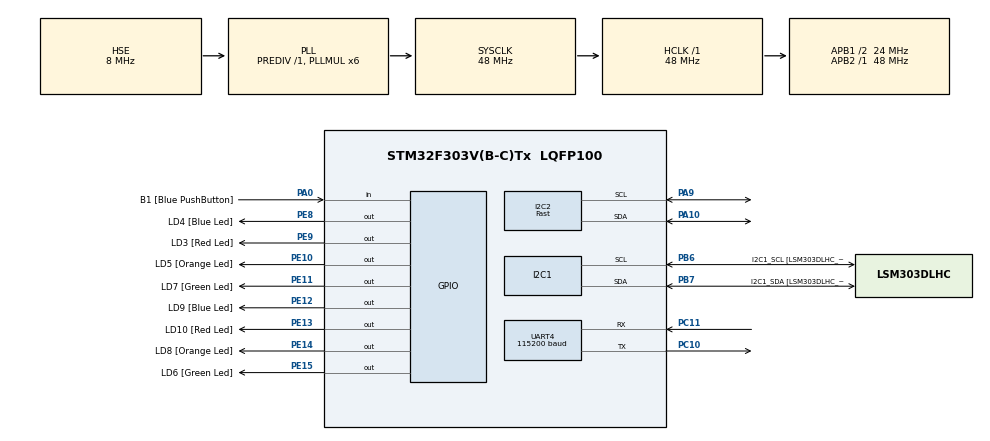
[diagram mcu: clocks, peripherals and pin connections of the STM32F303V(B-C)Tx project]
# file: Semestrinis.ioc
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I2C1.Timing-I2C=0x2000090E
I2C2.I2C_Speed_Mode=I2C_Fast
I2C2.Timing=0x0000020B
Mcu.Family=STM32F3
Mcu.Name=STM32F303V(B-C)Tx
Mcu.Package=LQFP100
NVIC.I2C1_EV_IRQn=true\:0\:0\:false\:false\:true\:true\:true\:true
NVIC.I2C2_EV_IRQn=true\:0\:0\:false\:false\:true\:true\:true\:true
NVIC.PriorityGroup=NVIC_PRIORITYGROUP_0
NVIC.TIM3_IRQn=true\:0\:0\:false\:false\:true\:true\:true\:true
NVIC.UART4_IRQn=true\:0\:0\:false\:false\:true\:true\:true\:true
PA0.GPIO_Label=B1 [Blue PushButton]
PA0.Signal=GPIO_Input
PA10.GPIO_Pu=GPIO_NOPULL
PA10.Mode=I2C
PA10.Signal=I2C2_SDA
PA11.GPIO_Label=DM
PA11.Signal=USB_DM
PA12.GPIO_Label=DP
PA12.Signal=USB_DP
PA13.GPIO_Label=SWDIO
PA13.Mode=Serial_Wire
PA13.Signal=SYS_JTMS-SWDIO
PA14.GPIO_Label=SWCLK
PA14.Mode=Serial_Wire
PA14.Signal=SYS_JTCK-SWCLK
PA9.Mode=I2C
PA9.Signal=I2C2_SCL
PB3.GPIO_Label=SWO
PB3.Signal=SYS_JTDO-TRACESWO
PB6.GPIO_Label=I2C1_SCL [LSM303DLHC_SCL]
PB6.GPIO_Pu=GPIO_PULLUP
PB6.Mode=I2C
PB6.Signal=I2C1_SCL
PB7.GPIO_Label=I2C1_SDA [LSM303DLHC_SDA]
PB7.GPIO_Pu=GPIO_PULLUP
PB7.Mode=I2C
PB7.Signal=I2C1_SDA
PC10.Mode=Asynchronous
PC10.Signal=UART4_TX
PC11.Mode=Asynchronous
PC11.Signal=UART4_RX
PC14-OSC32_IN.GPIO_Label=OSC32_IN
PC14-OSC32_IN.Signal=RCC_OSC32_IN
PC15-OSC32_OUT.GPIO_Label=OSC32_OUT
PC15-OSC32_OUT.Signal=RCC_OSC32_OUT
PE10.GPIO_Label=LD5 [Orange Led]
PE10.Signal=GPIO_Output
PE11.GPIO_Label=LD7 [Green Led]
PE11.Signal=GPIO_Output
PE12.GPIO_Label=LD9 [Blue Led]
PE12.Signal=GPIO_Output
PE13.GPIO_Label=LD10 [Red Led]
PE13.Signal=GPIO_Output
PE14.GPIO_Label=LD8 [Orange Led]
PE14.Signal=GPIO_Output
PE15.GPIO_Label=LD6 [Green Led]
PE15.Signal=GPIO_Output
PE8.GPIO_Label=LD4 [Blue Led]
PE8.Signal=GPIO_Output
PE9.GPIO_Label=LD3 [Red Led]
PE9.Signal=GPIO_Output
PF0-OSC_IN.GPIO_Label=OSC_IN
PF0-OSC_IN.Mode=HSE-External-Clock-Source
PF0-OSC_IN.Signal=RCC_OSC_IN
PF1-OSC_OUT.GPIO_Label=OSC_OUT
PF1-OSC_OUT.Signal=RCC_OSC_OUT
ProjectManager.HeapSize=0x200
ProjectManager.StackSize=0x400
ProjectManager.TargetToolchain=MDK-ARM V5.32
RCC.AHBFreq_Value=48000000
RCC.APB1CLKDivider=RCC_HCLK_DIV2
RCC.APB1Freq_Value=24000000
RCC.APB1TimFreq_Value=48000000
RCC.APB2Freq_Value=48000000
RCC.APB2TimFreq_Value=48000000
RCC.CortexFreq_Value=48000000
RCC.HCLKFreq_Value=48000000
RCC.HSE_Timout=100
RCC.HSE_VALUE=8000000
RCC.HSI_VALUE=8000000
RCC.LSE_VALUE=32768
RCC.PLLMUL=RCC_PLL_MUL6
RCC.PLLSourceVirtual=RCC_PLLSOURCE_HSE
RCC.SYSCLKFreq_VALUE=48000000
RCC.SYSCLKSourceVirtual=RCC_SYSCLKSOURCE_PLLCLK
RCC.USBFreq_Value=48000000
TIM3.Period=100
TIM3.Prescaler=48000
UART4.BaudRate=115200
UART4.Mode=MODE_TX_RX
UART4.WordLength=WORDLENGTH_8B
VP_TIM3_VS_ClockSourceINT.Mode=Internal
board=STM32F3DISCOVERY

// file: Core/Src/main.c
/* USER CODE BEGIN Header */
/**
  ******************************************************************************
  * @file           : main.c
  * @brief          : Main program body
  ******************************************************************************
  * @attention
  *
  * Copyright (c) 2023 STMicroelectronics.
  * All rights reserved.
  *
  * This software is licensed under terms that can be found in the LICENSE file
  * in the root directory of this software component.
  * If no LICENSE file comes with this software, it is provided AS-IS.
  *
  ******************************************************************************
  */
/* USER CODE END Header */
#include "main.h"

/* USER CODE BEGIN Includes */
#include "mano.h"
#include "ssd1306.h"
#include "fonts.h"

/* USER CODE END Includes */

I2C_HandleTypeDef hi2c1;
I2C_HandleTypeDef hi2c2;

TIM_HandleTypeDef htim3;

UART_HandleTypeDef huart4;

void SystemClock_Config(void);
static void MX_GPIO_Init(void);
static void MX_I2C1_Init(void);
static void MX_UART4_Init(void);
static void MX_I2C2_Init(void);
static void MX_TIM3_Init(void);

/* USER CODE BEGIN 0 */

int compassRotation = 0;
int nuskaitymuSkaicius = 0;
//Gauta nuskaitymo taimerio pertrauktis
void HAL_TIM_PeriodElapsedCallback(TIM_HandleTypeDef* htim)
{
	HAL_ResumeTick();
	if(htim == &htim3){
		Get_Compass_Data();
		nuskaitymuSkaicius++;
		if(nuskaitymuSkaicius == 5){ //patikriname ar atnaujinti informacija
			#if Enable_sensor
			compassRotation = Calculate_compass_data();
			#endif
			#if Enable_screen
			Update_Screen();
			#endif
			#if Enable_pc
			Update_PC_Heading();
			#endif
			nuskaitymuSkaicius = 0;
		}

	}
}

//Gauta UART RX pertrauktis
//https://controllerstech.com/flash-programming-in-stm32/
uint8_t receiveUARTData[6];
uint16_t received_calibration = 0x0000;
void HAL_UART_RxCpltCallback(UART_HandleTypeDef *huart)
{
	HAL_ResumeTick();
	switch(receiveUARTData[0])
	{
		case 0x01: //GAvome nauja kalibracijos verte
			received_calibration = receiveUARTData[1] | (receiveUARTData[2] << 8);
			Update_Calibration(received_calibration);
			Read_Calibration();
			break;
	}
}

void HAL_UART_TxCpltCallback(UART_HandleTypeDef *huart)
{
   Update_PC_Calibration();
}
/* USER CODE END 0 */

int main(void)
{

  /* MCU Configuration--------------------------------------------------------*/

  /* Reset of all peripherals, Initializes the Flash interface and the Systick. */
  HAL_Init();

  /* Configure the system clock */
  SystemClock_Config();

  /* Initialize all configured peripherals */
  MX_GPIO_Init();
  MX_I2C1_Init();
  MX_UART4_Init();
  MX_I2C2_Init();
  MX_TIM3_Init();
  /* USER CODE BEGIN 2 */
	I2C_Init(); //Sukonfiguruojame sensoriu

	#if Enable_calibration
		Read_Calibration(); //perskaitome kalibracija irasyta FLASH atmintyje
	#endif

	#if Enable_screen //Ijungiame ekrana
		SSD1306_Init ();
		SSD1306_UpdateScreen();
	#endif
	HAL_TIM_Base_Start_IT(&htim3); //Pradedame nuskaitymo laikmati
  /* USER CODE END 2 */

  /* Infinite loop */
  /* USER CODE BEGIN WHILE */
  while (1)
  {
		HAL_UART_Receive_IT(&huart4, receiveUARTData, 3);
		HAL_SuspendTick();
    HAL_PWR_EnterSLEEPMode(PWR_MAINREGULATOR_ON,PWR_SLEEPENTRY_WFI);
		HAL_ResumeTick();
    /* USER CODE END WHILE */

  }
}

void SystemClock_Config(void)
{
  RCC_OscInitTypeDef RCC_OscInitStruct = {0};
  RCC_ClkInitTypeDef RCC_ClkInitStruct = {0};
  RCC_PeriphCLKInitTypeDef PeriphClkInit = {0};

  /** Initializes the RCC Oscillators according to the specified parameters
  * in the RCC_OscInitTypeDef structure.
  */
  RCC_OscInitStruct.OscillatorType = RCC_OSCILLATORTYPE_HSI|RCC_OSCILLATORTYPE_HSE;
  RCC_OscInitStruct.HSEState = RCC_HSE_BYPASS;
  RCC_OscInitStruct.HSEPredivValue = RCC_HSE_PREDIV_DIV1;
  RCC_OscInitStruct.HSIState = RCC_HSI_ON;
  RCC_OscInitStruct.HSICalibrationValue = RCC_HSICALIBRATION_DEFAULT;
  RCC_OscInitStruct.PLL.PLLState = RCC_PLL_ON;
  RCC_OscInitStruct.PLL.PLLSource = RCC_PLLSOURCE_HSE;
  RCC_OscInitStruct.PLL.PLLMUL = RCC_PLL_MUL6;
  if (HAL_RCC_OscConfig(&RCC_OscInitStruct) != HAL_OK)
  {
    Error_Handler();
  }

  /** Initializes the CPU, AHB and APB buses clocks
  */
  RCC_ClkInitStruct.ClockType = RCC_CLOCKTYPE_HCLK|RCC_CLOCKTYPE_SYSCLK
                              |RCC_CLOCKTYPE_PCLK1|RCC_CLOCKTYPE_PCLK2;
  RCC_ClkInitStruct.SYSCLKSource = RCC_SYSCLKSOURCE_PLLCLK;
  RCC_ClkInitStruct.AHBCLKDivider = RCC_SYSCLK_DIV1;
  RCC_ClkInitStruct.APB1CLKDivider = RCC_HCLK_DIV2;
  RCC_ClkInitStruct.APB2CLKDivider = RCC_HCLK_DIV1;

  if (HAL_RCC_ClockConfig(&RCC_ClkInitStruct, FLASH_LATENCY_1) != HAL_OK)
  {
    Error_Handler();
  }
  PeriphClkInit.PeriphClockSelection = RCC_PERIPHCLK_UART4|RCC_PERIPHCLK_I2C1
                              |RCC_PERIPHCLK_I2C2;
  PeriphClkInit.Uart4ClockSelection = RCC_UART4CLKSOURCE_PCLK1;
  PeriphClkInit.I2c1ClockSelection = RCC_I2C1CLKSOURCE_HSI;
  PeriphClkInit.I2c2ClockSelection = RCC_I2C2CLKSOURCE_HSI;
  if (HAL_RCCEx_PeriphCLKConfig(&PeriphClkInit) != HAL_OK)
  {
    Error_Handler();
  }
}

static void MX_I2C1_Init(void)
{

  hi2c1.Instance = I2C1;
  hi2c1.Init.Timing = 0x2000090E;
  hi2c1.Init.OwnAddress1 = 0;
  hi2c1.Init.AddressingMode = I2C_ADDRESSINGMODE_7BIT;
  hi2c1.Init.DualAddressMode = I2C_DUALADDRESS_DISABLE;
  hi2c1.Init.OwnAddress2 = 0;
  hi2c1.Init.OwnAddress2Masks = I2C_OA2_NOMASK;
  hi2c1.Init.GeneralCallMode = I2C_GENERALCALL_DISABLE;
  hi2c1.Init.NoStretchMode = I2C_NOSTRETCH_DISABLE;
  if (HAL_I2C_Init(&hi2c1) != HAL_OK)
  {
    Error_Handler();
  }

  /** Configure Analogue filter
  */
  if (HAL_I2CEx_ConfigAnalogFilter(&hi2c1, I2C_ANALOGFILTER_ENABLE) != HAL_OK)
  {
    Error_Handler();
  }

  /** Configure Digital filter
  */
  if (HAL_I2CEx_ConfigDigitalFilter(&hi2c1, 0) != HAL_OK)
  {
    Error_Handler();
  }

}

static void MX_I2C2_Init(void)
{

  hi2c2.Instance = I2C2;
  hi2c2.Init.Timing = 0x0000020B;
  hi2c2.Init.OwnAddress1 = 0;
  hi2c2.Init.AddressingMode = I2C_ADDRESSINGMODE_7BIT;
  hi2c2.Init.DualAddressMode = I2C_DUALADDRESS_DISABLE;
  hi2c2.Init.OwnAddress2 = 0;
  hi2c2.Init.OwnAddress2Masks = I2C_OA2_NOMASK;
  hi2c2.Init.GeneralCallMode = I2C_GENERALCALL_DISABLE;
  hi2c2.Init.NoStretchMode = I2C_NOSTRETCH_DISABLE;
  if (HAL_I2C_Init(&hi2c2) != HAL_OK)
  {
    Error_Handler();
  }

  /** Configure Analogue filter
  */
  if (HAL_I2CEx_ConfigAnalogFilter(&hi2c2, I2C_ANALOGFILTER_ENABLE) != HAL_OK)
  {
    Error_Handler();
  }

  /** Configure Digital filter
  */
  if (HAL_I2CEx_ConfigDigitalFilter(&hi2c2, 0) != HAL_OK)
  {
    Error_Handler();
  }

}

static void MX_TIM3_Init(void)
{

  TIM_ClockConfigTypeDef sClockSourceConfig = {0};
  TIM_MasterConfigTypeDef sMasterConfig = {0};

  htim3.Instance = TIM3;
  htim3.Init.Prescaler = 48000;
  htim3.Init.CounterMode = TIM_COUNTERMODE_UP;
  htim3.Init.Period = 100;
  htim3.Init.ClockDivision = TIM_CLOCKDIVISION_DIV1;
  htim3.Init.AutoReloadPreload = TIM_AUTORELOAD_PRELOAD_DISABLE;
  if (HAL_TIM_Base_Init(&htim3) != HAL_OK)
  {
    Error_Handler();
  }
  sClockSourceConfig.ClockSource = TIM_CLOCKSOURCE_INTERNAL;
  if (HAL_TIM_ConfigClockSource(&htim3, &sClockSourceConfig) != HAL_OK)
  {
    Error_Handler();
  }
  sMasterConfig.MasterOutputTrigger = TIM_TRGO_RESET;
  sMasterConfig.MasterSlaveMode = TIM_MASTERSLAVEMODE_DISABLE;
  if (HAL_TIMEx_MasterConfigSynchronization(&htim3, &sMasterConfig) != HAL_OK)
  {
    Error_Handler();
  }

}

static void MX_UART4_Init(void)
{

  huart4.Instance = UART4;
  huart4.Init.BaudRate = 115200;
  huart4.Init.WordLength = UART_WORDLENGTH_8B;
  huart4.Init.StopBits = UART_STOPBITS_1;
  huart4.Init.Parity = UART_PARITY_NONE;
  huart4.Init.Mode = UART_MODE_TX_RX;
  huart4.Init.HwFlowCtl = UART_HWCONTROL_NONE;
  huart4.Init.OverSampling = UART_OVERSAMPLING_16;
  huart4.Init.OneBitSampling = UART_ONE_BIT_SAMPLE_DISABLE;
  huart4.AdvancedInit.AdvFeatureInit = UART_ADVFEATURE_NO_INIT;
  if (HAL_UART_Init(&huart4) != HAL_OK)
  {
    Error_Handler();
  }

}

static void MX_GPIO_Init(void)
{
  GPIO_InitTypeDef GPIO_InitStruct = {0};

  /* GPIO Ports Clock Enable */
  __HAL_RCC_GPIOC_CLK_ENABLE();
  __HAL_RCC_GPIOF_CLK_ENABLE();
  __HAL_RCC_GPIOA_CLK_ENABLE();
  __HAL_RCC_GPIOE_CLK_ENABLE();
  __HAL_RCC_GPIOB_CLK_ENABLE();

  /*Configure GPIO pin Output Level */
  HAL_GPIO_WritePin(GPIOE, LD4_Pin|LD3_Pin|LD5_Pin|LD7_Pin
                          |LD9_Pin|LD10_Pin|LD8_Pin|LD6_Pin, GPIO_PIN_RESET);

  /*Configure GPIO pin : B1_Pin */
  GPIO_InitStruct.Pin = B1_Pin;
  GPIO_InitStruct.Mode = GPIO_MODE_INPUT;
  GPIO_InitStruct.Pull = GPIO_NOPULL;
  HAL_GPIO_Init(B1_GPIO_Port, &GPIO_InitStruct);

  /*Configure GPIO pins : LD4_Pin LD3_Pin LD5_Pin LD7_Pin
                           LD9_Pin LD10_Pin LD8_Pin LD6_Pin */
  GPIO_InitStruct.Pin = LD4_Pin|LD3_Pin|LD5_Pin|LD7_Pin
                          |LD9_Pin|LD10_Pin|LD8_Pin|LD6_Pin;
  GPIO_InitStruct.Mode = GPIO_MODE_OUTPUT_PP;
  GPIO_InitStruct.Pull = GPIO_NOPULL;
  GPIO_InitStruct.Speed = GPIO_SPEED_FREQ_LOW;
  HAL_GPIO_Init(GPIOE, &GPIO_InitStruct);

  /*Configure GPIO pins : DM_Pin DP_Pin */
  GPIO_InitStruct.Pin = DM_Pin|DP_Pin;
  GPIO_InitStruct.Mode = GPIO_MODE_AF_PP;
  GPIO_InitStruct.Pull = GPIO_NOPULL;
  GPIO_InitStruct.Speed = GPIO_SPEED_FREQ_HIGH;
  GPIO_InitStruct.Alternate = GPIO_AF14_USB;
  HAL_GPIO_Init(GPIOA, &GPIO_InitStruct);

}

void Error_Handler(void)
{
  __disable_irq();
  while (1)
  {
  }
}
